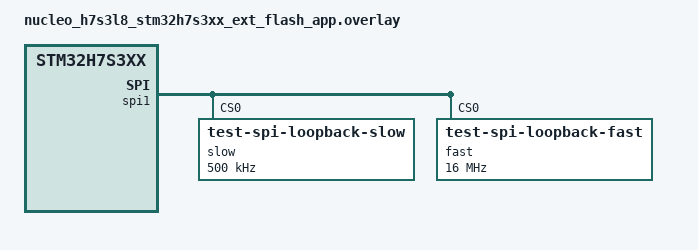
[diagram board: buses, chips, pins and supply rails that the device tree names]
/*
 * Copyright The Zephyr Project Contributors
 *
 * SPDX-License-Identifier: Apache-2.0
 */

/* Lower PLL1_Q to bring the SPI1 kernel clock into an acceptable range */
&pll {
	div-q = <6>;
};

&sram2 {
	status = "okay";
	zephyr,memory-attr = <DT_MEM_ARM(ATTR_MPU_RAM_NOCACHE)>;
};

&spi1 {
	dmas = <&gpdma1 0 52 STM32_DMA_PERIPH_TX>,
	       <&gpdma1 1 51 STM32_DMA_PERIPH_RX>;
	dma-names = "tx", "rx";
	st,fifo-threshold = <8>;

	slow@0 {
		compatible = "test-spi-loopback-slow";
		reg = <0>;
		spi-max-frequency = <DT_FREQ_K(500)>;
	};

	fast@0 {
		compatible = "test-spi-loopback-fast";
		reg = <0>;
		spi-max-frequency = <DT_FREQ_M(16)>;
	};
};

&gpdma1 {
	status = "okay";
};
